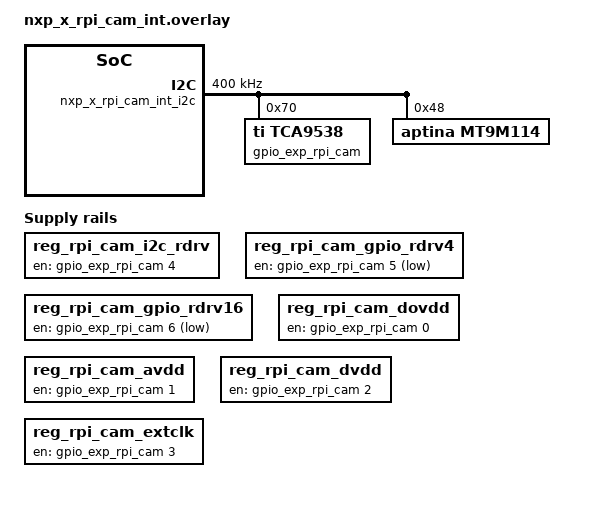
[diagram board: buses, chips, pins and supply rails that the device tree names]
/*
 * Copyright 2023 NXP
 *
 * SPDX-License-Identifier: Apache-2.0
 */

/ {
	reg_rpi_cam_i2c_rdrv: reg_rpi_cam_i2c_rdrv {
		compatible = "regulator-fixed";
		regulator-name = "reg_rpi_cam_i2c_rdrv";
		enable-gpios = <&gpio_exp_rpi_cam 4 GPIO_ACTIVE_HIGH>;
		startup-delay-us = <0>;
		off-on-delay-us = <0>;
		regulator-boot-on;
		regulator-always-on;
	};
	reg_rpi_cam_gpio_rdrv4: reg_rpi_cam_gpio_rdrv4 {
		compatible = "regulator-fixed";
		regulator-name = "reg_rpi_cam_gpio_rdrv4";
		enable-gpios = <&gpio_exp_rpi_cam 5 GPIO_ACTIVE_LOW>;
		startup-delay-us = <0>;
		off-on-delay-us = <0>;
		regulator-boot-on;
		regulator-always-on;
	};
	reg_rpi_cam_gpio_rdrv16: reg_rpi_cam_gpio_rdrv16 {
		compatible = "regulator-fixed";
		regulator-name = "reg_rpi_cam_gpio_rdrv16";
		enable-gpios = <&gpio_exp_rpi_cam 6 GPIO_ACTIVE_LOW>;
		startup-delay-us = <0>;
		off-on-delay-us = <0>;
		regulator-boot-on;
		regulator-always-on;
	};
	reg_rpi_cam_dovdd: reg_rpi_cam_dovdd {
		compatible = "regulator-fixed";
		regulator-name = "reg_rpi_cam_dovdd";
		enable-gpios = <&gpio_exp_rpi_cam 0 GPIO_ACTIVE_HIGH>;
		startup-delay-us = <0>;
		off-on-delay-us = <100>;
	};
	reg_rpi_cam_avdd: reg_rpi_cam_avdd {
		compatible = "regulator-fixed";
		regulator-name = "reg_rpi_cam_avdd";
		enable-gpios = <&gpio_exp_rpi_cam 1 GPIO_ACTIVE_HIGH>;
		startup-delay-us = <0>;
		off-on-delay-us = <100>;
	};
	reg_rpi_cam_dvdd: reg_rpi_cam_dvdd {
		compatible = "regulator-fixed";
		regulator-name = "reg_rpi_cam_dvdd";
		enable-gpios = <&gpio_exp_rpi_cam 2 GPIO_ACTIVE_HIGH>;
		startup-delay-us = <0>;
		off-on-delay-us = <500>;
	};
	reg_rpi_cam_extclk: reg_rpi_cam_extclk {
		compatible = "regulator-fixed";
		regulator-name = "reg_rpi_cam_extclk";
		enable-gpios = <&gpio_exp_rpi_cam 3 GPIO_ACTIVE_HIGH>;
		startup-delay-us = <0>;
		off-on-delay-us = <50000>;
	};
};

&nxp_x_rpi_cam_int_i2c {
	status = "okay";
	clock-frequency = <I2C_BITRATE_FAST>;

    gpio_exp_rpi_cam: tca9538@70 {
		compatible = "ti,tca9538";
		reg = <0x70>;
		gpio-controller;
		#gpio-cells = <2>;
		ngpios = <8>;
	};

	mt9m114: mt9m114@48 {
		compatible = "aptina,mt9m114";
		reg = <0x48>;
		regulators = <&reg_rpi_cam_i2c_rdrv>,
					<&reg_rpi_cam_gpio_rdrv4>,
					<&reg_rpi_cam_gpio_rdrv16>,
					<&reg_rpi_cam_dovdd>,
					<&reg_rpi_cam_avdd>,
					<&reg_rpi_cam_dvdd>,
					<&reg_rpi_cam_extclk>;
		status = "okay";
	};
};
